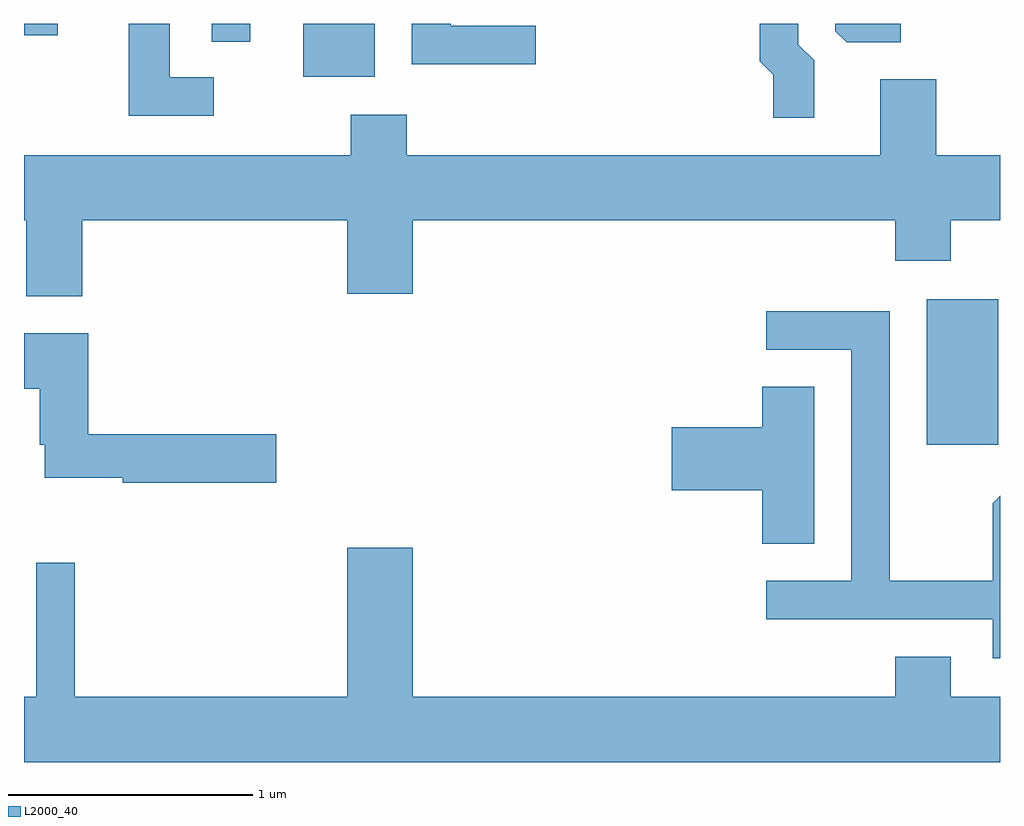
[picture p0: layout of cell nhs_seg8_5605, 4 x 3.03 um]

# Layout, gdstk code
import gdstk
lib = gdstk.Library(unit=1e-6, precision=1e-09)
def R(c, l, rs):  # rectangles x0, y0, x1, y1
    for r in rs: c.add(gdstk.rectangle(r[:2], r[2:], *l))
def P(c, l, *ps):  # polygons
    for p in ps: c.add(gdstk.Polygon(p, *l))
L2000_40 = (2000, 40)

nhs_seg8_5605 = lib.new_cell('nhs_seg8_5605')
R(nhs_seg8_5605, L2000_40, [(357.311,1826.616,357.604,1827.214), (354.756,1828.126,355.049,1828.342), (354.381,1828.268,354.539,1828.342), (353.611,1828.296,353.749,1828.342)])
P(nhs_seg8_5605, L2000_40, [(355.708,1828.334),(355.359,1828.334),(355.359,1828.342),(355.201,1828.342),(355.201,1828.176),(355.708,1828.176)],
  [(356.849,1828.192),(356.784,1828.257),(356.784,1828.342),(356.626,1828.342),(356.626,1828.189),(356.681,1828.134),(356.681,1827.958),(356.849,1827.958)],
  [(357.204,1828.342),(356.936,1828.342),(356.936,1828.312),(356.982,1828.266),(357.204,1828.266)],
  [(354.388,1828.124),(354.209,1828.124),(354.209,1828.342),(354.041,1828.342),(354.041,1827.966),(354.388,1827.966)],
  [(353.849,1827.536),(354.936,1827.536),(354.936,1827.236),(355.204,1827.236),(355.204,1827.536),(357.181,1827.536),(357.181,1827.371),(357.409,1827.371),(357.409,1827.536),(357.611,1827.536),(357.611,1827.804),(357.349,1827.804),(357.349,1828.114),(357.121,1828.114),(357.121,1827.804),(355.179,1827.804),(355.179,1827.969),(354.951,1827.969),(354.951,1827.804),(353.611,1827.804),(353.611,1827.536),(353.621,1827.536),(353.621,1827.226),(353.849,1827.226)],
  [(357.611,1826.407),(357.581,1826.377),(357.581,1826.059),(357.159,1826.059),(357.159,1827.164),(356.653,1827.164),(356.653,1827.006),(357.001,1827.006),(357.001,1826.059),(356.653,1826.059),(356.653,1825.901),(357.581,1825.901),(357.581,1825.741),(357.611,1825.741)],
  [(354.644,1826.659),(353.874,1826.659),(353.874,1827.074),(353.611,1827.074),(353.611,1826.846),(353.676,1826.846),(353.676,1826.616),(353.696,1826.616),(353.696,1826.481),(354.016,1826.481),(354.016,1826.461),(354.644,1826.461)],
  [(356.849,1826.854),(356.636,1826.854),(356.636,1826.689),(356.266,1826.689),(356.266,1826.431),(356.636,1826.431),(356.636,1826.211),(356.849,1826.211)],
  [(357.611,1825.584),(357.409,1825.584),(357.409,1825.749),(357.181,1825.749),(357.181,1825.584),(355.204,1825.584),(355.204,1826.194),(354.936,1826.194),(354.936,1825.584),(353.819,1825.584),(353.819,1826.133),(353.661,1826.133),(353.661,1825.584),(353.611,1825.584),(353.611,1825.316),(357.611,1825.316)])

lib.write_gds('nhs_seg8_5605.gds')
